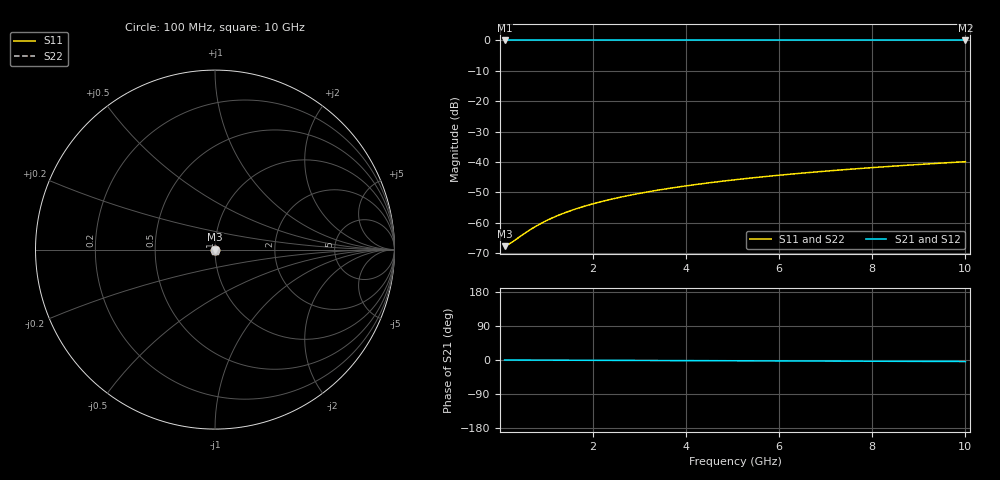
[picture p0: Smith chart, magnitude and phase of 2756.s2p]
# Hz S RI R 50.00
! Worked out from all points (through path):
!   100 points, 100 MHz to 10 GHz, reference 50 ohm
!   highest |S21| = 0.00 dB at 100 MHz (marker M1); lowest = 0.0 dB at 10 GHz (marker M2)
!   lowest |S11| = -67.7 dB at 100 MHz (marker M3), VSWR 1.00, Z = 50 - j0.0101 ohm
!   |S11| at or under -10 dB: start of sweep to end of sweep
!   |S22| runs from -67.7 to -39.9 dB; largest |S21 - S12| = 1e-13
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1e8  0.000402 -0.000101  0.9996 -0.000702  0.9996 -0.000702  0.000402 -0.000101
2e8  0.000404 -0.000202  0.9996 -0.0014  0.9996 -0.0014  0.000404 -0.000202
3e8  0.000405 -0.000304  0.9996 -0.00211  0.9996 -0.00211  0.000405 -0.000304
6e8  0.000406 -0.000607  0.9996 -0.00421  0.9996 -0.00421  0.000406 -0.000607
7e8  0.000406 -0.000708  0.9996 -0.00491  0.9996 -0.00491  0.000406 -0.000708
8e8  0.000406 -0.00081  0.9996 -0.00562  0.9996 -0.00562  0.000406 -0.00081
1e9  0.000404 -0.00101  0.9996 -0.00702  0.9996 -0.00702  0.000404 -0.00101
1.2e9  0.000402 -0.00121  0.9995 -0.00842  0.9995 -0.00842  0.000402 -0.00121
1.4e9  0.000399 -0.00142  0.9995 -0.00983  0.9995 -0.00983  0.000399 -0.00142
1.6e9  0.000396 -0.00162  0.9995 -0.0112  0.9995 -0.0112  0.000396 -0.00162
1.8e9  0.000391 -0.00182  0.9995 -0.0126  0.9995 -0.0126  0.000391 -0.00182
2.1e9  0.000384 -0.00213  0.9995 -0.0147  0.9995 -0.0147  0.000384 -0.00213
2.5e9  0.000372 -0.00253  0.9994 -0.0175  0.9994 -0.0175  0.000372 -0.00253
2.9e9  0.000357 -0.00294  0.9993 -0.0204  0.9993 -0.0204  0.000357 -0.00294
3.4e9  0.000335 -0.00344  0.9993 -0.0239  0.9993 -0.0239  0.000335 -0.00344
4.2e9  0.000293 -0.00425  0.9991 -0.0295  0.9991 -0.0295  0.000293 -0.00425
5.1e9  0.000235 -0.00517  0.9989 -0.0358  0.9989 -0.0358  0.000235 -0.00517
5.9e9  0.000173 -0.00598  0.9987 -0.0414  0.9987 -0.0414  0.000173 -0.00598
6.7e9  0.000102 -0.00679  0.9984 -0.0471  0.9984 -0.0471  0.000102 -0.00679
7.5e9  2.17e-05 -0.0076  0.9981 -0.0527  0.9981 -0.0527  2.17e-05 -0.0076
8.4e9  -7.95e-05 -0.00852  0.9977 -0.059  0.9977 -0.059  -7.95e-05 -0.00852
1e10  -0.000288 -0.0101  0.997 -0.0703  0.997 -0.0703  -0.000288 -0.0101
